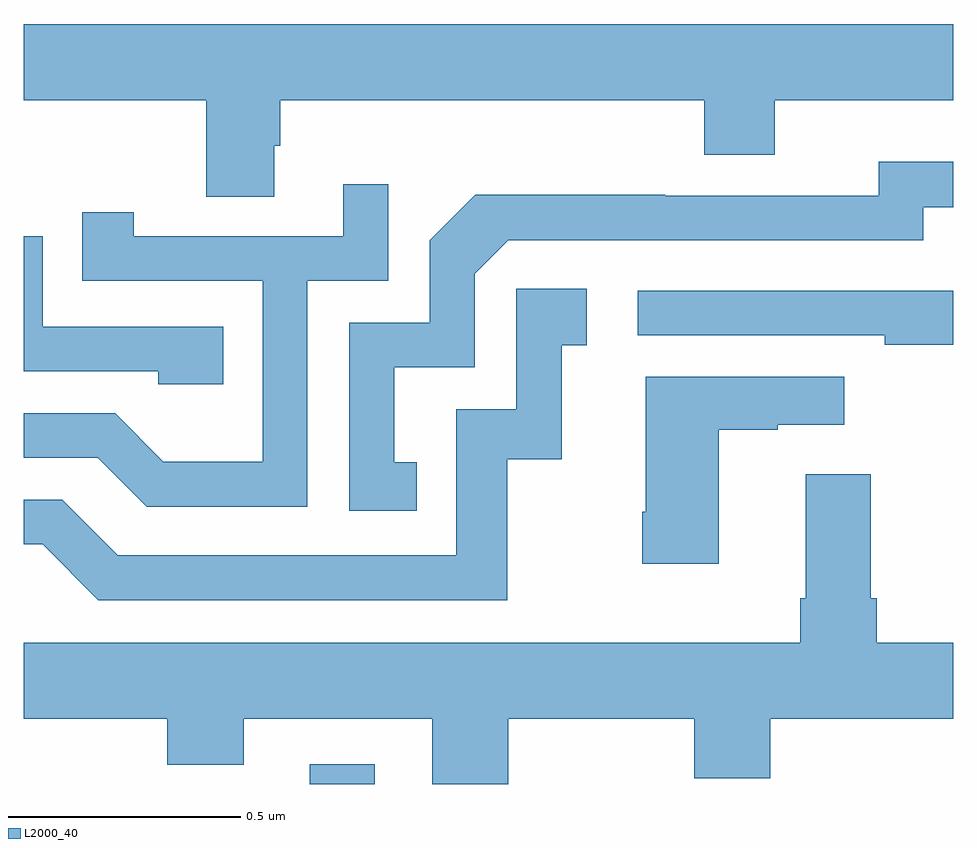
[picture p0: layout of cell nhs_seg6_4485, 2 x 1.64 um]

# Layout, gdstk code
import gdstk
lib = gdstk.Library(unit=1e-6, precision=1e-09)
def R(c, l, rs):  # rectangles x0, y0, x1, y1
    for r in rs: c.add(gdstk.rectangle(r[:2], r[2:], *l))
def P(c, l, *ps):  # polygons
    for p in ps: c.add(gdstk.Polygon(p, *l))
L2000_40 = (2000, 40)

nhs_seg6_4485 = lib.new_cell('nhs_seg6_4485')
R(nhs_seg6_4485, L2000_40, [(170.615,976.5,170.755,976.543)])
P(nhs_seg6_4485, L2000_40, [(170,977.972),(170.392,977.972),(170.392,977.764),(170.539,977.764),(170.539,977.874),(170.552,977.874),(170.552,977.972),(171.464,977.972),(171.464,977.855),(171.616,977.855),(171.616,977.972),(172,977.972),(172,978.136),(170,978.136)],
  [(170.846,977.193),(170.797,977.193),(170.797,977.397),(170.97,977.397),(170.97,977.598),(171.042,977.67),(171.936,977.67),(171.936,977.742),(172,977.742),(172,977.839),(171.84,977.839),(171.84,977.766),(171.38,977.766),(171.38,977.768),(170.972,977.768),(170.874,977.67),(170.874,977.493),(170.7,977.493),(170.7,977.088),(170.846,977.088)],
  [(170.61,977.583),(170.784,977.583),(170.784,977.791),(170.687,977.791),(170.687,977.679),(170.236,977.679),(170.236,977.731),(170.125,977.731),(170.125,977.583),(170.514,977.583),(170.514,977.194),(170.3,977.194),(170.196,977.298),(170,977.298),(170,977.202),(170.159,977.202),(170.264,977.097),(170.61,977.097)],
  [(170.429,977.484),(170.04,977.484),(170.04,977.679),(170,977.679),(170,977.388),(170.289,977.388),(170.289,977.361),(170.429,977.361)],
  [(171.04,977.199),(171.158,977.199),(171.158,977.445),(171.211,977.445),(171.211,977.566),(171.06,977.566),(171.06,977.307),(170.931,977.307),(170.931,976.992),(170.202,976.992),(170.082,977.112),(170,977.112),(170,977.016),(170.04,977.016),(170.16,976.896),(171.04,976.896)],
  [(172,977.562),(171.321,977.562),(171.321,977.466),(171.853,977.466),(171.853,977.446),(172,977.446)],
  [(171.496,977.263),(171.623,977.263),(171.623,977.273),(171.766,977.273),(171.766,977.377),(171.338,977.377),(171.338,977.086),(171.331,977.086),(171.331,976.974),(171.496,976.974)],
  [(171.043,976.64),(171.443,976.64),(171.443,976.512),(171.607,976.512),(171.607,976.64),(172,976.64),(172,976.804),(171.836,976.804),(171.836,976.9),(171.823,976.9),(171.823,977.167),(171.683,977.167),(171.683,976.9),(171.671,976.9),(171.671,976.804),(170,976.804),(170,976.64),(170.309,976.64),(170.309,976.541),(170.473,976.541),(170.473,976.64),(170.879,976.64),(170.879,976.5),(171.043,976.5)])

lib.write_gds('nhs_seg6_4485.gds')
